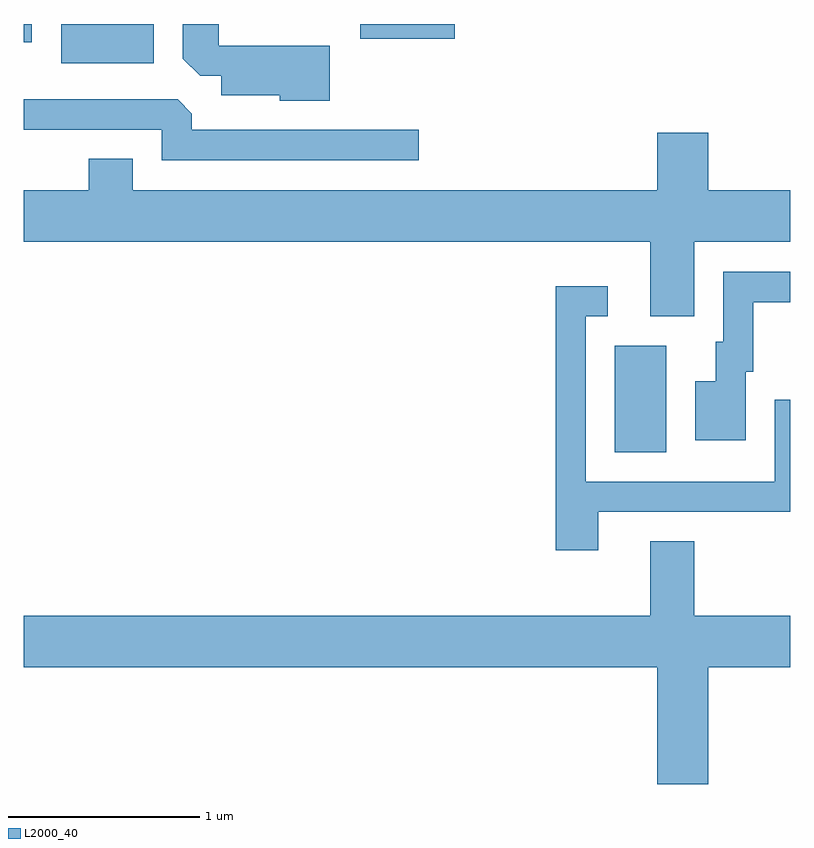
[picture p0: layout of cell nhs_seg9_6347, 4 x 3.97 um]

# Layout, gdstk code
import gdstk
lib = gdstk.Library(unit=1e-6, precision=1e-09)
def R(c, l, rs):  # rectangles x0, y0, x1, y1
    for r in rs: c.add(gdstk.rectangle(r[:2], r[2:], *l))
def P(c, l, *ps):  # polygons
    for p in ps: c.add(gdstk.Polygon(p, *l))
L2000_40 = (2000, 40)

nhs_seg9_6347 = lib.new_cell('nhs_seg9_6347')
R(nhs_seg9_6347, L2000_40, [(374.696,2066.196,374.964,2066.754), (371.806,2068.226,372.289,2068.432), (371.611,2068.336,371.654,2068.432), (373.366,2068.356,373.859,2068.432)])
P(nhs_seg9_6347, L2000_40, [(373.209,2068.319),(372.629,2068.319),(372.629,2068.432),(372.441,2068.432),(372.441,2068.251),(372.532,2068.161),(372.641,2068.161),(372.641,2068.061),(372.946,2068.061),(372.946,2068.031),(373.209,2068.031)],
  [(373.673,2067.879),(372.489,2067.879),(372.489,2067.963),(372.414,2068.039),(371.611,2068.039),(371.611,2067.881),(372.331,2067.881),(372.331,2067.721),(373.673,2067.721)],
  [(375.109,2067.296),(375.611,2067.296),(375.611,2067.564),(375.184,2067.564),(375.184,2067.864),(374.916,2067.864),(374.916,2067.564),(372.179,2067.564),(372.179,2067.729),(371.951,2067.729),(371.951,2067.564),(371.611,2067.564),(371.611,2067.296),(374.881,2067.296),(374.881,2066.906),(375.109,2066.906)],
  [(375.379,2066.616),(375.419,2066.616),(375.419,2066.981),(375.611,2066.981),(375.611,2067.139),(375.261,2067.139),(375.261,2066.774),(375.221,2066.774),(375.221,2066.569),(375.116,2066.569),(375.116,2066.261),(375.379,2066.261)],
  [(374.609,2065.886),(375.611,2065.886),(375.611,2066.472),(375.531,2066.472),(375.531,2066.044),(374.544,2066.044),(374.544,2066.906),(374.658,2066.906),(374.658,2067.064),(374.386,2067.064),(374.386,2065.686),(374.609,2065.686)],
  [(375.184,2065.076),(375.611,2065.076),(375.611,2065.344),(375.109,2065.344),(375.109,2065.734),(374.881,2065.734),(374.881,2065.344),(371.611,2065.344),(371.611,2065.076),(374.916,2065.076),(374.916,2064.466),(375.184,2064.466)])

lib.write_gds('nhs_seg9_6347.gds')
